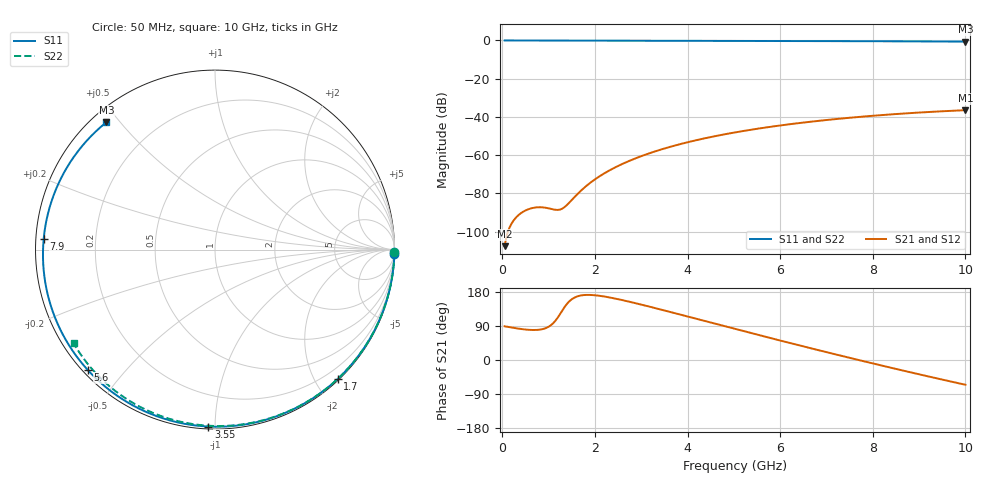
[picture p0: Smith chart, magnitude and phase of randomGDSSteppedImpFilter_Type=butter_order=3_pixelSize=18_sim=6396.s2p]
! freq	dB(S11)	phase(S11)	dB(S12)	phase(S12)
!  dB(S21)	phase(S21)	dB(S22)	phase(S22)
!S-par simulation data
#  GHz  S  DB  R 50
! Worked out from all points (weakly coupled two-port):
!   200 points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, 50 MHz to 10 GHz, reference 50 ohm
!   highest |S21| = -36.49 dB at 10 GHz (marker M1); lowest = -107.6 dB at 50 MHz (marker M2)
!   lowest |S11| = -0.6 dB at 10 GHz (marker M3), VSWR 28.65, Z = 2.12 + j23.1 ohm
!   |S11| at or under -10 dB: nowhere
!   |S22| runs from -0.5 to 0.0 dB; largest |S21 - S12| = 0
!   S11 on the Smith chart (normalised r, x): 50 MHz: 0, -81; 1.7 GHz: 0.02, -2.33; 3.55 GHz: 0.01, -0.96; 5.6 GHz: 0.01, -0.40; 7.9 GHz: 0.02, +0.03; 10 GHz: 0.04, +0.46
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0.05  -0.00 -1.4  -107.65 89.0  -107.65 89.0  -0.00 -0.9
0.4  -0.02 -11.2  -90.41 81.9  -90.41 81.9  -0.01 -6.8
0.8  -0.03 -22.2  -87.27 80.0  -87.27 80.0  -0.02 -13.5
1.6  -0.05 -43.8  -80.95 166.9  -80.95 166.9  -0.03 -26.9
1.65  -0.06 -45.1  -79.74 168.9  -79.74 168.9  -0.04 -27.7
1.7  -0.06 -46.4  -78.58 170.3  -78.58 170.3  -0.04 -28.5
1.75  -0.06 -47.7  -77.48 171.2  -77.48 171.2  -0.04 -29.3
2.05  -0.07 -55.5  -71.88 170.2  -71.88 170.2  -0.04 -34.3
2.45  -0.08 -65.7  -66.27 161.8  -66.27 161.8  -0.05 -40.7
2.9  -0.10 -76.7  -61.47 149.2  -61.47 149.2  -0.06 -47.9
3.4  -0.11 -88.6  -57.28 133.9  -57.28 133.9  -0.07 -55.7
3.55  -0.12 -92.1  -56.19 129.2  -56.19 129.2  -0.08 -58.0
4.25  -0.14 -107.9  -51.85 106.8  -51.85 106.8  -0.10 -68.7
5.05  -0.18 -125.1  -48.01 81.2  -48.01 81.2  -0.12 -80.4
5.6  -0.21 -136.6  -45.86 63.9  -45.86 63.9  -0.15 -88.3
6.15  -0.25 -147.8  -44.01 46.7  -44.01 46.7  -0.17 -95.9
6.7  -0.29 -159.0  -42.41 29.8  -42.41 29.8  -0.20 -103.4
7.3  -0.33 -171.2  -40.90 11.7  -40.90 11.7  -0.24 -111.5
7.9  -0.39 176.5  -39.61 -6.1  -39.61 -6.1  -0.28 -119.3
8.35  -0.43 167.1  -38.77 -19.2  -38.77 -19.2  -0.32 -125.2
9.15  -0.51 149.8  -37.51 -42.0  -37.51 -42.0  -0.40 -135.5
10  -0.61 130.4  -36.49 -65.3  -36.49 -65.3  -0.49 -146.5
